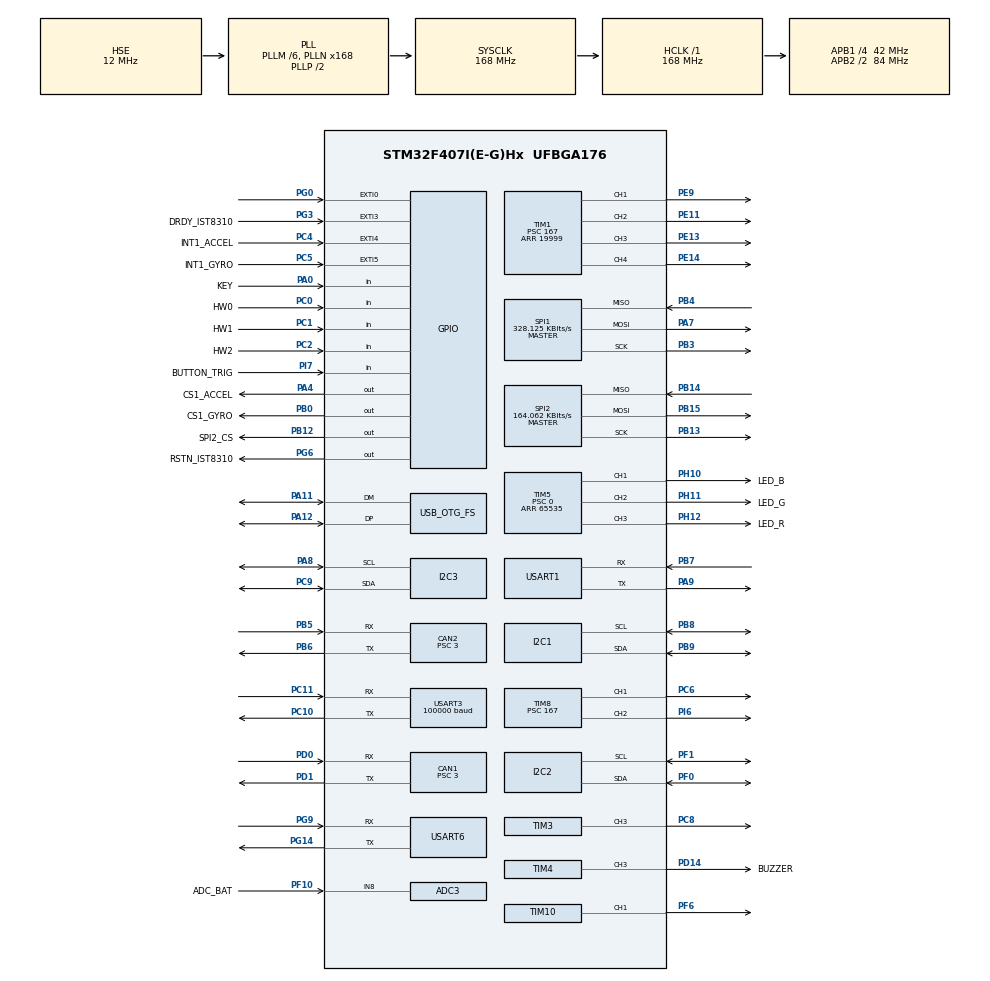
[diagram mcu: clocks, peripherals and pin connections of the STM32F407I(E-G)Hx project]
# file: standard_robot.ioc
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ADC1.Channel-0\#ChannelRegularConversion=ADC_CHANNEL_TEMPSENSOR
ADC1.ClockPrescaler=ADC_CLOCK_SYNC_PCLK_DIV6
ADC1.NbrOfConversionFlag=1
ADC1.Rank-0\#ChannelRegularConversion=1
ADC1.SamplingTime-0\#ChannelRegularConversion=ADC_SAMPLETIME_3CYCLES
ADC1.master=1
ADC3.Channel-0\#ChannelRegularConversion=ADC_CHANNEL_8
ADC3.ClockPrescaler=ADC_CLOCK_SYNC_PCLK_DIV6
ADC3.NbrOfConversionFlag=1
ADC3.Rank-0\#ChannelRegularConversion=1
ADC3.SamplingTime-0\#ChannelRegularConversion=ADC_SAMPLETIME_3CYCLES
CAN1.BS1=CAN_BS1_10TQ
CAN1.BS2=CAN_BS2_3TQ
CAN1.CalculateBaudRate=1000000
CAN1.CalculateTimeQuantum=71.42857142857143
CAN1.Prescaler=3
CAN2.BS1=CAN_BS1_10TQ
CAN2.BS2=CAN_BS2_3TQ
CAN2.CalculateBaudRate=1000000
CAN2.CalculateTimeQuantum=71.42857142857143
CAN2.Prescaler=3
Dma.I2C2_TX.2.Direction=DMA_MEMORY_TO_PERIPH
Dma.I2C2_TX.2.FIFOMode=DMA_FIFOMODE_DISABLE
Dma.I2C2_TX.2.Instance=DMA1_Stream7
Dma.I2C2_TX.2.MemDataAlignment=DMA_MDATAALIGN_BYTE
Dma.I2C2_TX.2.MemInc=DMA_MINC_ENABLE
Dma.I2C2_TX.2.Mode=DMA_NORMAL
Dma.I2C2_TX.2.PeriphDataAlignment=DMA_PDATAALIGN_BYTE
Dma.I2C2_TX.2.PeriphInc=DMA_PINC_DISABLE
Dma.I2C2_TX.2.Priority=DMA_PRIORITY_HIGH
Dma.Request0=SPI1_RX
Dma.Request1=SPI1_TX
Dma.Request2=I2C2_TX
Dma.Request3=USART3_RX
Dma.Request4=USART6_RX
Dma.Request5=USART6_TX
Dma.Request6=USART1_TX
Dma.Request7=USART1_RX
Dma.SPI1_RX.0.Direction=DMA_PERIPH_TO_MEMORY
Dma.SPI1_RX.0.FIFOMode=DMA_FIFOMODE_DISABLE
Dma.SPI1_RX.0.Instance=DMA2_Stream2
Dma.SPI1_RX.0.MemDataAlignment=DMA_MDATAALIGN_BYTE
Dma.SPI1_RX.0.MemInc=DMA_MINC_ENABLE
Dma.SPI1_RX.0.Mode=DMA_NORMAL
Dma.SPI1_RX.0.PeriphDataAlignment=DMA_PDATAALIGN_BYTE
Dma.SPI1_RX.0.PeriphInc=DMA_PINC_DISABLE
Dma.SPI1_RX.0.Priority=DMA_PRIORITY_VERY_HIGH
Dma.SPI1_TX.1.Direction=DMA_MEMORY_TO_PERIPH
Dma.SPI1_TX.1.FIFOMode=DMA_FIFOMODE_DISABLE
Dma.SPI1_TX.1.Instance=DMA2_Stream3
Dma.SPI1_TX.1.MemDataAlignment=DMA_MDATAALIGN_BYTE
Dma.SPI1_TX.1.MemInc=DMA_MINC_ENABLE
Dma.SPI1_TX.1.Mode=DMA_NORMAL
Dma.SPI1_TX.1.PeriphDataAlignment=DMA_PDATAALIGN_BYTE
Dma.SPI1_TX.1.PeriphInc=DMA_PINC_DISABLE
Dma.SPI1_TX.1.Priority=DMA_PRIORITY_HIGH
Dma.USART1_RX.7.Direction=DMA_PERIPH_TO_MEMORY
Dma.USART1_RX.7.FIFOMode=DMA_FIFOMODE_DISABLE
Dma.USART1_RX.7.Instance=DMA2_Stream5
Dma.USART1_RX.7.MemDataAlignment=DMA_MDATAALIGN_BYTE
Dma.USART1_RX.7.MemInc=DMA_MINC_ENABLE
Dma.USART1_RX.7.Mode=DMA_NORMAL
Dma.USART1_RX.7.PeriphDataAlignment=DMA_PDATAALIGN_BYTE
Dma.USART1_RX.7.PeriphInc=DMA_PINC_DISABLE
Dma.USART1_RX.7.Priority=DMA_PRIORITY_HIGH
Dma.USART1_TX.6.Direction=DMA_MEMORY_TO_PERIPH
Dma.USART1_TX.6.FIFOMode=DMA_FIFOMODE_DISABLE
Dma.USART1_TX.6.Instance=DMA2_Stream7
Dma.USART1_TX.6.MemDataAlignment=DMA_MDATAALIGN_BYTE
Dma.USART1_TX.6.MemInc=DMA_MINC_ENABLE
Dma.USART1_TX.6.Mode=DMA_NORMAL
Dma.USART1_TX.6.PeriphDataAlignment=DMA_PDATAALIGN_BYTE
Dma.USART1_TX.6.PeriphInc=DMA_PINC_DISABLE
Dma.USART1_TX.6.Priority=DMA_PRIORITY_MEDIUM
Dma.USART3_RX.3.Direction=DMA_PERIPH_TO_MEMORY
Dma.USART3_RX.3.FIFOMode=DMA_FIFOMODE_DISABLE
Dma.USART3_RX.3.Instance=DMA1_Stream1
Dma.USART3_RX.3.MemDataAlignment=DMA_MDATAALIGN_BYTE
Dma.USART3_RX.3.MemInc=DMA_MINC_ENABLE
Dma.USART3_RX.3.Mode=DMA_NORMAL
Dma.USART3_RX.3.PeriphDataAlignment=DMA_PDATAALIGN_BYTE
Dma.USART3_RX.3.PeriphInc=DMA_PINC_DISABLE
Dma.USART3_RX.3.Priority=DMA_PRIORITY_HIGH
Dma.USART6_RX.4.Direction=DMA_PERIPH_TO_MEMORY
Dma.USART6_RX.4.FIFOMode=DMA_FIFOMODE_DISABLE
Dma.USART6_RX.4.Instance=DMA2_Stream1
Dma.USART6_RX.4.MemDataAlignment=DMA_MDATAALIGN_BYTE
Dma.USART6_RX.4.MemInc=DMA_MINC_ENABLE
Dma.USART6_RX.4.Mode=DMA_NORMAL
Dma.USART6_RX.4.PeriphDataAlignment=DMA_PDATAALIGN_BYTE
Dma.USART6_RX.4.PeriphInc=DMA_PINC_DISABLE
Dma.USART6_RX.4.Priority=DMA_PRIORITY_HIGH
Dma.USART6_TX.5.Direction=DMA_MEMORY_TO_PERIPH
Dma.USART6_TX.5.FIFOMode=DMA_FIFOMODE_DISABLE
Dma.USART6_TX.5.Instance=DMA2_Stream6
Dma.USART6_TX.5.MemDataAlignment=DMA_MDATAALIGN_BYTE
Dma.USART6_TX.5.MemInc=DMA_MINC_ENABLE
Dma.USART6_TX.5.Mode=DMA_NORMAL
Dma.USART6_TX.5.PeriphDataAlignment=DMA_PDATAALIGN_BYTE
Dma.USART6_TX.5.PeriphInc=DMA_PINC_DISABLE
Dma.USART6_TX.5.Priority=DMA_PRIORITY_MEDIUM
FREERTOS.INCLUDE_eTaskGetState=1
FREERTOS.INCLUDE_pcTaskGetTaskName=1
FREERTOS.INCLUDE_uxTaskGetStackHighWaterMark=1
FREERTOS.INCLUDE_vTaskCleanUpResources=1
FREERTOS.INCLUDE_vTaskDelayUntil=1
FREERTOS.INCLUDE_xEventGroupSetBitFromISR=1
FREERTOS.INCLUDE_xQueueGetMutexHolder=1
FREERTOS.INCLUDE_xSemaphoreGetMutexHolder=1
FREERTOS.INCLUDE_xTaskAbortDelay=1
FREERTOS.INCLUDE_xTaskGetCurrentTaskHandle=1
FREERTOS.INCLUDE_xTaskGetHandle=1
FREERTOS.INCLUDE_xTimerPendFunctionCall=1
FREERTOS.Tasks01=test,24,128,test_task,As weak,NULL,Dynamic,NULL,NULL
FREERTOS.configTOTAL_HEAP_SIZE=24576
I2C1.I2C_Mode=I2C_Fast
I2C2.I2C_Mode=I2C_Fast
I2C3.I2C_Mode=I2C_Fast
Mcu.Family=STM32F4
Mcu.Name=STM32F407I(E-G)Hx
Mcu.Package=UFBGA176
NVIC.CAN1_RX0_IRQn=true\:6\:0\:true\:false\:true\:true\:true\:true\:true
NVIC.CAN2_RX0_IRQn=true\:6\:0\:true\:false\:true\:true\:true\:true\:true
NVIC.DMA1_Stream1_IRQn=true\:5\:0\:true\:false\:false\:true\:false\:false\:true
NVIC.DMA1_Stream7_IRQn=true\:5\:0\:true\:false\:false\:true\:false\:true\:true
NVIC.DMA2_Stream1_IRQn=true\:5\:0\:true\:false\:true\:true\:false\:true\:true
NVIC.DMA2_Stream2_IRQn=true\:5\:0\:true\:false\:false\:true\:false\:true\:true
NVIC.DMA2_Stream3_IRQn=true\:5\:0\:true\:false\:false\:true\:false\:true\:true
NVIC.DMA2_Stream5_IRQn=true\:5\:0\:false\:false\:true\:true\:false\:true\:true
NVIC.DMA2_Stream6_IRQn=true\:5\:0\:true\:false\:true\:true\:false\:true\:true
NVIC.DMA2_Stream7_IRQn=true\:5\:0\:true\:false\:true\:true\:false\:true\:true
NVIC.EXTI0_IRQn=true\:6\:0\:true\:false\:true\:true\:true\:true\:true
NVIC.EXTI3_IRQn=true\:5\:0\:true\:false\:true\:true\:true\:true\:true
NVIC.EXTI4_IRQn=true\:5\:0\:true\:false\:true\:true\:true\:true\:true
NVIC.EXTI9_5_IRQn=true\:5\:0\:true\:false\:true\:true\:true\:true\:true
NVIC.OTG_FS_IRQn=true\:5\:0\:false\:false\:true\:true\:false\:true\:true
NVIC.PriorityGroup=NVIC_PRIORITYGROUP_4
NVIC.TIM7_IRQn=true\:0\:0\:true\:false\:true\:false\:false\:true\:true
NVIC.TimeBase=TIM7_IRQn
NVIC.TimeBaseIP=TIM7
NVIC.USART1_IRQn=true\:5\:0\:true\:false\:true\:true\:true\:true\:true
NVIC.USART3_IRQn=true\:4\:0\:true\:false\:false\:false\:true\:true\:true
NVIC.USART6_IRQn=true\:5\:0\:true\:false\:false\:true\:true\:true\:true
PA0-WKUP.GPIO_Label=KEY
PA0-WKUP.GPIO_PuPd=GPIO_PULLUP
PA0-WKUP.Signal=GPIO_Input
PA11.Mode=Device_Only
PA11.Signal=USB_OTG_FS_DM
PA12.Mode=Device_Only
PA12.Signal=USB_OTG_FS_DP
PA13.Mode=Serial_Wire
PA13.Signal=SYS_JTMS-SWDIO
PA14.Mode=Serial_Wire
PA14.Signal=SYS_JTCK-SWCLK
PA4.GPIO_Label=CS1_ACCEL
PA4.GPIO_PuPd=GPIO_PULLUP
PA4.GPIO_Speed=GPIO_SPEED_FREQ_HIGH
PA4.PinState=GPIO_PIN_SET
PA4.Signal=GPIO_Output
PA7.GPIO_PuPd=GPIO_PULLUP
PA7.Mode=Full_Duplex_Master
PA7.Signal=SPI1_MOSI
PA8.GPIO_Pu=GPIO_PULLUP
PA8.Mode=I2C
PA8.Signal=I2C3_SCL
PA9.Mode=Asynchronous
PA9.Signal=USART1_TX
PB0.GPIO_Label=CS1_GYRO
PB0.GPIO_PuPd=GPIO_PULLUP
PB0.GPIO_Speed=GPIO_SPEED_FREQ_HIGH
PB0.PinState=GPIO_PIN_SET
PB0.Signal=GPIO_Output
PB12.GPIO_Label=SPI2_CS
PB12.GPIO_PuPd=GPIO_PULLUP
PB12.GPIO_Speed=GPIO_SPEED_FREQ_MEDIUM
PB12.PinState=GPIO_PIN_SET
PB12.Signal=GPIO_Output
PB13.GPIO_PuPd=GPIO_PULLUP
PB13.Mode=Full_Duplex_Master
PB13.Signal=SPI2_SCK
PB14.GPIO_PuPd=GPIO_PULLUP
PB14.Mode=Full_Duplex_Master
PB14.Signal=SPI2_MISO
PB15.GPIO_PuPd=GPIO_PULLUP
PB15.Mode=Full_Duplex_Master
PB15.Signal=SPI2_MOSI
PB3.GPIO_PuPd=GPIO_PULLUP
PB3.Mode=Full_Duplex_Master
PB3.Signal=SPI1_SCK
PB4.GPIO_PuPd=GPIO_PULLUP
PB4.Mode=Full_Duplex_Master
PB4.Signal=SPI1_MISO
PB5.Mode=CAN_Activate
PB5.Signal=CAN2_RX
PB6.Mode=CAN_Activate
PB6.Signal=CAN2_TX
PB7.Mode=Asynchronous
PB7.Signal=USART1_RX
PB8.GPIO_Pu=GPIO_PULLUP
PB8.Mode=I2C
PB8.Signal=I2C1_SCL
PB9.GPIO_Pu=GPIO_PULLUP
PB9.Mode=I2C
PB9.Signal=I2C1_SDA
PC0.GPIO_Label=HW0
PC0.Signal=GPIO_Input
PC1.GPIO_Label=HW1
PC1.Signal=GPIO_Input
PC10.Mode=Asynchronous
PC10.Signal=USART3_TX
PC11.Mode=Asynchronous
PC11.Signal=USART3_RX
PC2.GPIO_Label=HW2
PC2.Signal=GPIO_Input
PC4.GPIO_Label=INT1_ACCEL
PC4.GPIO_ModeDefaultEXTI=GPIO_MODE_IT_FALLING
PC4.GPIO_PuPd=GPIO_PULLUP
PC4.Signal=GPXTI4
PC5.GPIO_Label=INT1_GYRO
PC5.GPIO_ModeDefaultEXTI=GPIO_MODE_IT_FALLING
PC5.GPIO_PuPd=GPIO_PULLUP
PC5.Signal=GPXTI5
PC6.GPIO_PuPd=GPIO_PULLUP
PC6.GPIO_Speed=GPIO_SPEED_FREQ_HIGH
PC6.Signal=S_TIM8_CH1
PC8.GPIO_PuPd=GPIO_PULLUP
PC8.GPIO_Speed=GPIO_SPEED_FREQ_HIGH
PC8.Signal=S_TIM3_CH3
PC9.GPIO_Pu=GPIO_PULLUP
PC9.Mode=I2C
PC9.Signal=I2C3_SDA
PD0.Mode=CAN_Activate
PD0.Signal=CAN1_RX
PD1.Mode=CAN_Activate
PD1.Signal=CAN1_TX
PD14.GPIO_Label=BUZZER
PD14.GPIO_PuPd=GPIO_PULLUP
PD14.GPIO_Speed=GPIO_SPEED_FREQ_VERY_HIGH
PD14.Signal=S_TIM4_CH3
PE11.GPIO_PuPd=GPIO_PULLUP
PE11.GPIO_Speed=GPIO_SPEED_FREQ_HIGH
PE11.Signal=S_TIM1_CH2
PE13.GPIO_PuPd=GPIO_PULLUP
PE13.GPIO_Speed=GPIO_SPEED_FREQ_HIGH
PE13.Signal=S_TIM1_CH3
PE14.GPIO_PuPd=GPIO_PULLUP
PE14.GPIO_Speed=GPIO_SPEED_FREQ_HIGH
PE14.Signal=S_TIM1_CH4
PE9.GPIO_PuPd=GPIO_PULLUP
PE9.GPIO_Speed=GPIO_SPEED_FREQ_HIGH
PE9.Signal=S_TIM1_CH1
PF0.GPIO_Pu=GPIO_PULLUP
PF0.Mode=I2C
PF0.Signal=I2C2_SDA
PF1.GPIO_Pu=GPIO_PULLUP
PF1.Mode=I2C
PF1.Signal=I2C2_SCL
PF10.GPIO_Label=ADC_BAT
PF10.Mode=IN8
PF10.Signal=ADC3_IN8
PF6.GPIO_PuPd=GPIO_PULLUP
PF6.GPIO_Speed=GPIO_SPEED_FREQ_HIGH
PF6.Signal=S_TIM10_CH1
PG0.GPIO_ModeDefaultEXTI=GPIO_MODE_IT_FALLING
PG0.GPIO_PuPd=GPIO_PULLUP
PG0.Signal=GPXTI0
PG14.Mode=Asynchronous
PG14.Signal=USART6_TX
PG3.GPIO_Label=DRDY_IST8310
PG3.GPIO_ModeDefaultEXTI=GPIO_MODE_IT_FALLING
PG3.GPIO_PuPd=GPIO_PULLUP
PG3.Signal=GPXTI3
PG6.GPIO_Label=RSTN_IST8310
PG6.GPIO_PuPd=GPIO_PULLUP
PG6.GPIO_Speed=GPIO_SPEED_FREQ_MEDIUM
PG6.PinState=GPIO_PIN_SET
PG6.Signal=GPIO_Output
PG9.Mode=Asynchronous
PG9.Signal=USART6_RX
PH0-OSC_IN.Mode=HSE-External-Oscillator
PH0-OSC_IN.Signal=RCC_OSC_IN
PH1-OSC_OUT.Mode=HSE-External-Oscillator
PH1-OSC_OUT.Signal=RCC_OSC_OUT
PH10.GPIO_Label=LED_B
PH10.GPIO_PuPd=GPIO_PULLUP
PH10.GPIO_Speed=GPIO_SPEED_FREQ_HIGH
PH10.Signal=S_TIM5_CH1
PH11.GPIO_Label=LED_G
PH11.GPIO_PuPd=GPIO_PULLUP
PH11.GPIO_Speed=GPIO_SPEED_FREQ_HIGH
PH11.Signal=S_TIM5_CH2
PH12.GPIO_Label=LED_R
PH12.GPIO_PuPd=GPIO_PULLUP
PH12.GPIO_Speed=GPIO_SPEED_FREQ_HIGH
PH12.Signal=S_TIM5_CH3
PI6.GPIO_PuPd=GPIO_PULLUP
PI6.GPIO_Speed=GPIO_SPEED_FREQ_HIGH
PI6.Signal=S_TIM8_CH2
PI7.GPIO_Label=BUTTON_TRIG
PI7.GPIO_PuPd=GPIO_PULLUP
PI7.Signal=GPIO_Input
ProjectManager.HeapSize=0x2000
ProjectManager.StackSize=0x2000
ProjectManager.TargetToolchain=MDK-ARM V5
RCC.48MHZClocksFreq_Value=48000000
RCC.AHBFreq_Value=168000000
RCC.APB1CLKDivider=RCC_HCLK_DIV4
RCC.APB1Freq_Value=42000000
RCC.APB1TimFreq_Value=84000000
RCC.APB2CLKDivider=RCC_HCLK_DIV2
RCC.APB2Freq_Value=84000000
RCC.APB2TimFreq_Value=168000000
RCC.CortexFreq_Value=168000000
RCC.HCLKFreq_Value=168000000
RCC.HSE_VALUE=12000000
RCC.HSI_VALUE=16000000
RCC.LSE_VALUE=32768
RCC.PLLM=6
RCC.PLLN=168
RCC.PLLQ=7
RCC.RCC_RTC_Clock_SourceVirtual=RCC_RTCCLKSOURCE_HSE_DIV30
RCC.RCC_RTC_Clock_Source_FROM_HSE=RCC_RTCCLKSOURCE_HSE_DIV30
RCC.SYSCLKFreq_VALUE=168000000
RCC.SYSCLKSource=RCC_SYSCLKSOURCE_PLLCLK
RCC.VCOOutputFreq_Value=336000000
RTC.AsynchPrediv=124
RTC.SynchPrediv=3199
SH.S_TIM10_CH1.0=TIM10_CH1,PWM Generation1 CH1
SH.S_TIM1_CH1.0=TIM1_CH1,PWM Generation1 CH1
SH.S_TIM1_CH2.0=TIM1_CH2,PWM Generation2 CH2
SH.S_TIM1_CH3.0=TIM1_CH3,PWM Generation3 CH3
SH.S_TIM1_CH4.0=TIM1_CH4,PWM Generation4 CH4
SH.S_TIM3_CH3.0=TIM3_CH3,PWM Generation3 CH3
SH.S_TIM4_CH3.0=TIM4_CH3,PWM Generation3 CH3
SH.S_TIM5_CH1.0=TIM5_CH1,PWM Generation1 CH1
SH.S_TIM5_CH2.0=TIM5_CH2,PWM Generation2 CH2
SH.S_TIM5_CH3.0=TIM5_CH3,PWM Generation3 CH3
SH.S_TIM8_CH1.0=TIM8_CH1,PWM Generation1 CH1
SH.S_TIM8_CH2.0=TIM8_CH2,PWM Generation2 CH2
SPI1.BaudRatePrescaler=SPI_BAUDRATEPRESCALER_256
SPI1.CLKPhase=SPI_PHASE_2EDGE
SPI1.CLKPolarity=SPI_POLARITY_HIGH
SPI1.CalculateBaudRate=328.125 KBits/s
SPI1.Direction=SPI_DIRECTION_2LINES
SPI1.Mode=SPI_MODE_MASTER
SPI1.VirtualType=VM_MASTER
SPI2.BaudRatePrescaler=SPI_BAUDRATEPRESCALER_256
SPI2.CLKPhase=SPI_PHASE_2EDGE
SPI2.CLKPolarity=SPI_POLARITY_HIGH
SPI2.CalculateBaudRate=164.062 KBits/s
SPI2.Direction=SPI_DIRECTION_2LINES
SPI2.Mode=SPI_MODE_MASTER
SPI2.VirtualType=VM_MASTER
TIM1.Channel-PWM\ Generation1\ CH1=TIM_CHANNEL_1
TIM1.Channel-PWM\ Generation2\ CH2=TIM_CHANNEL_2
TIM1.Channel-PWM\ Generation3\ CH3=TIM_CHANNEL_3
TIM1.Channel-PWM\ Generation4\ CH4=TIM_CHANNEL_4
TIM1.Period=19999
TIM1.Prescaler=167
TIM1.Pulse-PWM\ Generation1\ CH1=1000
TIM1.Pulse-PWM\ Generation2\ CH2=1000
TIM1.Pulse-PWM\ Generation3\ CH3=1000
TIM1.Pulse-PWM\ Generation4\ CH4=1000
TIM10.Channel=TIM_CHANNEL_1
TIM10.Period=4999
TIM3.Channel-PWM\ Generation3\ CH3=TIM_CHANNEL_3
TIM3.Period=8399
TIM4.Channel-PWM\ Generation3\ CH3=TIM_CHANNEL_3
TIM4.Period=65535
TIM4.Prescaler=167
TIM5.Channel-PWM\ Generation1\ CH1=TIM_CHANNEL_1
TIM5.Channel-PWM\ Generation2\ CH2=TIM_CHANNEL_2
TIM5.Channel-PWM\ Generation3\ CH3=TIM_CHANNEL_3
TIM5.Period=65535
TIM5.Prescaler=0
TIM8.Channel-PWM\ Generation1\ CH1=TIM_CHANNEL_1
TIM8.Channel-PWM\ Generation2\ CH2=TIM_CHANNEL_2
TIM8.Period=19999
TIM8.Prescaler=167
TIM8.Pulse-PWM\ Generation1\ CH1=1000
TIM8.Pulse-PWM\ Generation2\ CH2=1000
USART1.VirtualMode=VM_ASYNC
USART3.BaudRate=100000
USART3.Parity=PARITY_EVEN
USART3.VirtualMode=VM_ASYNC
USART6.VirtualMode=VM_ASYNC
USB_DEVICE.CLASS_NAME_FS=CDC
USB_DEVICE.VirtualMode-CDC_FS=Cdc
USB_DEVICE.VirtualModeFS=Cdc_FS
USB_OTG_FS.VirtualMode=Device_Only
VP_ADC1_TempSens_Input.Mode=IN-TempSens
VP_ADC1_Vref_Input.Mode=IN-Vrefint
VP_CRC_VS_CRC.Mode=CRC_Activate
VP_FREERTOS_VS_CMSIS_V1.Mode=CMSIS_V1
VP_RNG_VS_RNG.Mode=RNG_Activate
VP_RTC_VS_RTC_Activate.Mode=RTC_Enabled
VP_SYS_VS_tim7.Mode=TIM7
VP_TIM10_VS_ClockSourceINT.Mode=Enable_Timer
VP_TIM1_VS_ClockSourceINT.Mode=Internal
VP_TIM3_VS_ClockSourceINT.Mode=Internal
VP_TIM4_VS_ClockSourceINT.Mode=Internal
VP_TIM5_VS_ClockSourceINT.Mode=Internal
VP_TIM8_VS_ClockSourceINT.Mode=Internal
VP_USB_DEVICE_VS_USB_DEVICE_CDC_FS.Mode=CDC_FS
board=custom

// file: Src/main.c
/* USER CODE BEGIN Header */
/**
  ******************************************************************************
  * @file           : main.c
  * @brief          : Main program body
  ******************************************************************************
  * @attention
  *
  * <h2><center>&copy; Copyright (c) 2019 STMicroelectronics.
  * All rights reserved.</center></h2>
  *
  * This software component is licensed by ST under Ultimate Liberty license
  * SLA0044, the "License"; You may not use this file except in compliance with
  * the License. You may obtain a copy of the License at:
  *                             www.st.com/SLA0044
  *
  ******************************************************************************
  */
/* USER CODE END Header */
#include "main.h"
#include "cmsis_os.h"
#include "adc.h"
#include "can.h"
#include "crc.h"
#include "dma.h"
#include "i2c.h"
#include "rng.h"
#include "rtc.h"
#include "spi.h"
#include "tim.h"
#include "usart.h"
#include "usb_device.h"
#include "gpio.h"

/* USER CODE BEGIN Includes */
#include "bsp_can.h"
#include "bsp_delay.h"
#include "bsp_usart.h"
#include "remote_control.h"

#include "calibrate_task.h"
#include "chassis_task.h"
#include "detect_task.h"
#include "gimbal_task.h"
#include "INS_task.h"
#include "led_flow_task.h"
#include "oled_task.h"
#include "referee_usart_task.h"
#include "usb_task.h"
#include "voltage_task.h"
#include "SEGGER_SYSVIEW.h"
#include "SolveTrajectory.h"
#include "AutoGimbal.h"
/* USER CODE END Includes */

/* USER CODE BEGIN PTD */
int fputc(int ch, FILE *f)
{

  uint8_t temp[1] = {ch};
  HAL_UART_Transmit(&huart6, temp, 1, 0xFFFF);
  return 0;
}
/* USER CODE END PTD */

void SystemClock_Config(void);
void MX_FREERTOS_Init(void);

int main(void)
{

  /* MCU Configuration--------------------------------------------------------*/

  /* Reset of all peripherals, Initializes the Flash interface and the Systick. */
  HAL_Init();

  /* Configure the system clock */
  SystemClock_Config();

  /* Initialize all configured peripherals */
  MX_GPIO_Init();
  MX_DMA_Init();
  MX_ADC1_Init();
  MX_ADC3_Init();
  MX_CAN1_Init();
  MX_CAN2_Init();
  MX_I2C1_Init();
  MX_SPI1_Init();
  MX_TIM4_Init();
  MX_TIM5_Init();
  MX_USART3_UART_Init();
  MX_TIM8_Init();
  MX_CRC_Init();
  MX_RNG_Init();
  MX_I2C2_Init();
  MX_I2C3_Init();
  MX_RTC_Init();
  MX_SPI2_Init();
  MX_TIM1_Init();
  MX_TIM3_Init();
  MX_TIM10_Init();
  MX_USART1_UART_Init();
  MX_USART6_UART_Init();
  /* USER CODE BEGIN 2 */
	SEGGER_SYSVIEW_Conf();
	can_filter_init();
	delay_init();
	cali_param_init();
	remote_control_init();
	usart1_tx_dma_init();
	AUTO_control_init();
	initSTValue();
    /* USER CODE END 2 */

    /* Call init function for freertos objects (in freertos.c) */
    MX_FREERTOS_Init();

    /* Start scheduler */
    osKernelStart();
    /* We should never get here as control is now taken by the scheduler */
    /* Infinite loop */
    while (1)
    {

  }
}

void SystemClock_Config(void)
{
  RCC_OscInitTypeDef RCC_OscInitStruct = {0};
  RCC_ClkInitTypeDef RCC_ClkInitStruct = {0};

  /** Configure the main internal regulator output voltage
  */
  __HAL_RCC_PWR_CLK_ENABLE();
  __HAL_PWR_VOLTAGESCALING_CONFIG(PWR_REGULATOR_VOLTAGE_SCALE1);

  /** Initializes the RCC Oscillators according to the specified parameters
  * in the RCC_OscInitTypeDef structure.
  */
  RCC_OscInitStruct.OscillatorType = RCC_OSCILLATORTYPE_HSE;
  RCC_OscInitStruct.HSEState = RCC_HSE_ON;
  RCC_OscInitStruct.PLL.PLLState = RCC_PLL_ON;
  RCC_OscInitStruct.PLL.PLLSource = RCC_PLLSOURCE_HSE;
  RCC_OscInitStruct.PLL.PLLM = 6;
  RCC_OscInitStruct.PLL.PLLN = 168;
  RCC_OscInitStruct.PLL.PLLP = RCC_PLLP_DIV2;
  RCC_OscInitStruct.PLL.PLLQ = 7;
  if (HAL_RCC_OscConfig(&RCC_OscInitStruct) != HAL_OK)
  {
    Error_Handler();
  }

  /** Initializes the CPU, AHB and APB buses clocks
  */
  RCC_ClkInitStruct.ClockType = RCC_CLOCKTYPE_HCLK|RCC_CLOCKTYPE_SYSCLK
                              |RCC_CLOCKTYPE_PCLK1|RCC_CLOCKTYPE_PCLK2;
  RCC_ClkInitStruct.SYSCLKSource = RCC_SYSCLKSOURCE_PLLCLK;
  RCC_ClkInitStruct.AHBCLKDivider = RCC_SYSCLK_DIV1;
  RCC_ClkInitStruct.APB1CLKDivider = RCC_HCLK_DIV4;
  RCC_ClkInitStruct.APB2CLKDivider = RCC_HCLK_DIV2;

  if (HAL_RCC_ClockConfig(&RCC_ClkInitStruct, FLASH_LATENCY_5) != HAL_OK)
  {
    Error_Handler();
  }
}

void HAL_TIM_PeriodElapsedCallback(TIM_HandleTypeDef *htim)
{
  if (htim->Instance == TIM7) {
    HAL_IncTick();
  }
}

void Error_Handler(void)
{
}

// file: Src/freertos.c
/* USER CODE BEGIN Header */
/**
  ******************************************************************************
  * File Name          : freertos.c
  * Description        : Code for freertos applications
  ******************************************************************************
  * @attention
  *
  * <h2><center>&copy; Copyright (c) 2019 STMicroelectronics.
  * All rights reserved.</center></h2>
  *
  * This software component is licensed by ST under Ultimate Liberty license
  * SLA0044, the "License"; You may not use this file except in compliance with
  * the License. You may obtain a copy of the License at:
  *                             www.st.com/SLA0044
  *
  ******************************************************************************
  */
/* USER CODE END Header */

#include "FreeRTOS.h"
#include "task.h"
#include "main.h"
#include "cmsis_os.h"

/* USER CODE BEGIN Includes */

#include "calibrate_task.h"
#include "chassis_task.h"
#include "detect_task.h"
#include "gimbal_task.h"
#include "INS_task.h"
#include "led_flow_task.h"
#include "oled_task.h"
#include "referee_usart_task.h"
#include "usb_task.h"
#include "voltage_task.h"
#include "servo_task.h"
#include "AutoGimbal.h"
#include "Service_USB.h"
/* USER CODE END Includes */

/* USER CODE BEGIN PTD */

osThreadId calibrate_tast_handle;
osThreadId chassisTaskHandle;
osThreadId detect_handle;
osThreadId gimbalTaskHandle;
osThreadId imuTaskHandle;
osThreadId led_RGB_flow_handle;
osThreadId oled_handle;
osThreadId referee_usart_task_handle;
osThreadId usb_task_handle;
osThreadId battery_voltage_handle;
osThreadId servo_task_handle;
osThreadId PC_vosion_task_handle;

/* USER CODE END PTD */

osThreadId testHandle;

void test_task(void const * argument);

extern void MX_USB_DEVICE_Init(void);
void MX_FREERTOS_Init(void); /* (MISRA C 2004 rule 8.1) */

/* GetIdleTaskMemory prototype (linked to static allocation support) */
void vApplicationGetIdleTaskMemory( StaticTask_t **ppxIdleTaskTCBBuffer, StackType_t **ppxIdleTaskStackBuffer, uint32_t *pulIdleTaskStackSize );

/* GetTimerTaskMemory prototype (linked to static allocation support) */
void vApplicationGetTimerTaskMemory( StaticTask_t **ppxTimerTaskTCBBuffer, StackType_t **ppxTimerTaskStackBuffer, uint32_t *pulTimerTaskStackSize );

/* USER CODE BEGIN GET_IDLE_TASK_MEMORY */
static StaticTask_t xIdleTaskTCBBuffer;
static StackType_t xIdleStack[configMINIMAL_STACK_SIZE];

void vApplicationGetIdleTaskMemory( StaticTask_t **ppxIdleTaskTCBBuffer, StackType_t **ppxIdleTaskStackBuffer, uint32_t *pulIdleTaskStackSize )
{
  *ppxIdleTaskTCBBuffer = &xIdleTaskTCBBuffer;
  *ppxIdleTaskStackBuffer = &xIdleStack[0];
  *pulIdleTaskStackSize = configMINIMAL_STACK_SIZE;
  /* place for user code */
}
/* USER CODE END GET_IDLE_TASK_MEMORY */

/* USER CODE BEGIN GET_TIMER_TASK_MEMORY */
static StaticTask_t xTimerTaskTCBBuffer;
static StackType_t xTimerStack[configTIMER_TASK_STACK_DEPTH];

void vApplicationGetTimerTaskMemory( StaticTask_t **ppxTimerTaskTCBBuffer, StackType_t **ppxTimerTaskStackBuffer, uint32_t *pulTimerTaskStackSize )
{
  *ppxTimerTaskTCBBuffer = &xTimerTaskTCBBuffer;
  *ppxTimerTaskStackBuffer = &xTimerStack[0];
  *pulTimerTaskStackSize = configTIMER_TASK_STACK_DEPTH;
  /* place for user code */
}
/* USER CODE END GET_TIMER_TASK_MEMORY */

void MX_FREERTOS_Init(void) {

  /* Create the thread(s) */
  /* definition and creation of test */
  osThreadDef(test, test_task, osPriorityNormal, 0, 128);
  testHandle = osThreadCreate(osThread(test), NULL);

  /* USER CODE BEGIN RTOS_THREADS */
  /* add threads, ... */
    osThreadDef(cali, calibrate_task, osPriorityNormal, 0, 512);
    calibrate_tast_handle = osThreadCreate(osThread(cali), NULL);

    osThreadDef(ChassisTask, chassis_task, osPriorityAboveNormal, 0, 512);
    chassisTaskHandle = osThreadCreate(osThread(ChassisTask), NULL);

   // osThreadDef(DETECT, detect_task, osPriorityNormal, 0, 256);
   // detect_handle = osThreadCreate(osThread(DETECT), NULL);

    osThreadDef(gimbalTask, gimbal_task, osPriorityHigh, 0, 512);
    gimbalTaskHandle = osThreadCreate(osThread(gimbalTask), NULL);

    osThreadDef(imuTask, INS_task, osPriorityRealtime, 0, 1024);
    imuTaskHandle = osThreadCreate(osThread(imuTask), NULL);

    osThreadDef(led, led_RGB_flow_task, osPriorityNormal, 0, 256);
    led_RGB_flow_handle = osThreadCreate(osThread(led), NULL);

    osThreadDef(OLED, oled_task, osPriorityLow, 0, 256);
    oled_handle = osThreadCreate(osThread(OLED), NULL);

//    osThreadDef(REFEREE, referee_usart_task, osPriorityNormal, 0, 128);
//    referee_usart_task_handle = osThreadCreate(osThread(REFEREE), NULL);

//    osThreadDef(USBTask, usb_task, osPriorityNormal, 0, 128);
//    usb_task_handle = osThreadCreate(osThread(USBTask), NULL);

//		xTaskCreate(Task_USB, "Task.USB", 512, NULL, osPriorityHigh, &task_usb_handle);
//    usb_cdc_queue_handle = xQueueCreate(USB_CDC_QUEUE_BUF_LEN, sizeof(uint8_t));

    osThreadDef(BATTERY_VOLTAGE, battery_voltage_task, osPriorityNormal, 0, 128);
    battery_voltage_handle = osThreadCreate(osThread(BATTERY_VOLTAGE), NULL);

//    osThreadDef(SERVO, servo_task, osPriorityNormal, 0, 128);
//    servo_task_handle = osThreadCreate(osThread(SERVO), NULL);

//    osThreadDef(PC_voision, PC_vosion_task, osPriorityNormal, 0, 128);
//    PC_vosion_task_handle = osThreadCreate(osThread(PC_voision), NULL);

  /* USER CODE END RTOS_THREADS */

}

__weak void test_task(void const * argument)
{
  /* init code for USB_DEVICE */
  MX_USB_DEVICE_Init();
  for(;;)
  {
    osDelay(1);
  }
}
